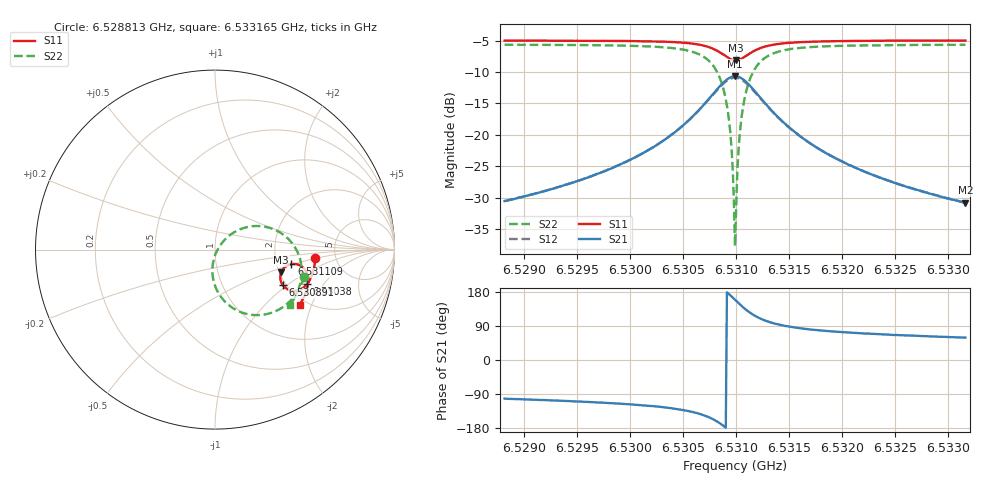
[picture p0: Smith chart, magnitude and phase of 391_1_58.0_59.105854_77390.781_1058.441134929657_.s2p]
#  HZ  S  RI  R  50.00
! Rohde & Schwarz Vector Network Analyzer
! Rohde-Schwarz,ZNB20-2Port,1311601062101988,3.16
! Created: UTC 3/21/2024, 1:07:50 AM
! freq[Hz]  re:S11  im:S11  re:S21  im:S21  re:S12  im:S12  re:S22  im:S22
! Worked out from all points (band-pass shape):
!   401 points, 6.528813 GHz to 6.533165 GHz, reference 50 ohm
!   highest |S21| = -10.68 dB at 6.530989 GHz (marker M1); lowest = -30.8 dB at 6.533165 GHz (marker M2)
!   |S21| within 3 dB of the highest: 6.530773 GHz to 6.531208 GHz (434.9 kHz wide, 0.00666 % of centre)
!   lowest |S11| = -8.2 dB at 6.531 GHz (marker M3), VSWR 2.28, Z = 103 - j30.4 ohm
!   |S11| at or under -10 dB: nowhere
!   |S22| runs from -37.7 to -5.7 dB; largest |S21 - S12| = 0.011
!   S11 on the Smith chart (normalised r, x): 6.528813 GHz: 3.48, -0.49; 6.53038 GHz: 2.56, -1.40; 6.530891 GHz: 1.92, -0.94; 6.531109 GHz: 2.41, -0.48; 6.533165 GHz: 1.82, -1.65
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6.5288129e9  0.5591 -0.048  -0.00617 -0.029  -0.00671 -0.029  0.4983 -0.151
6.5295419e9  0.5498 -0.108  -0.015 -0.0414  -0.0159 -0.0411  0.4694 -0.2176
6.530271e9  0.5228 -0.1786  -0.0468 -0.0713  -0.0488 -0.0698  0.3922 -0.3101
6.5303798e9  0.5137 -0.1913  -0.0593 -0.0789  -0.0615 -0.0772  0.3659 -0.3283
6.530728e9  0.4476 -0.2296  -0.1607 -0.0952  -0.1629 -0.0889  0.1739 -0.3578
6.5308259e9  0.4072 -0.2224  -0.2233 -0.0672  -0.2225 -0.0584  0.068 -0.3017
6.5308912e9  0.3785 -0.1992  -0.2654 -0.0174  -0.2605 -0.00834  0.00398 -0.2114
6.5309347e9  0.366 -0.1729  -0.2811 0.0329  -0.2734 0.0404  -0.0147 -0.1251
6.5309565e9  0.3638 -0.1575  -0.2821 0.0615  -0.2732 0.0676  -0.0116 -0.0776
6.5309674e9  0.3638 -0.1495  -0.2806 0.0761  -0.271 0.0814  -0.0066 -0.0537
6.5309782e9  0.3649 -0.1414  -0.2774 0.0909  -0.2677 0.095  0.000764 -0.0302
6.5309891e9  0.3667 -0.1336  -0.2729 0.1049  -0.263 0.1084  0.0105 -0.00762
6.531e9  0.3694 -0.1258  -0.2669 0.1187  -0.2569 0.1213  0.0224 0.0139
6.5310109e9  0.3729 -0.1185  -0.2596 0.1317  -0.2497 0.1333  0.0363 0.0342
6.5310435e9  0.3874 -0.0997  -0.2316 0.1647  -0.2226 0.1642  0.0878 0.0842
6.5310762e9  0.4058 -0.0872  -0.1975 0.1874  -0.1901 0.1851  0.1475 0.1161
6.5311088e9  0.4253 -0.0811  -0.1626 0.1991  -0.1569 0.1962  0.2074 0.1301
6.531185e9  0.4644 -0.0843  -0.0937 0.197  -0.0906 0.1943  0.3235 0.1146
6.5312938e9  0.4975 -0.1072  -0.0358 0.1667  -0.0342 0.1652  0.4178 0.0495
6.5317182e9  0.5193 -0.1834  0.0145 0.0822  0.0152 0.082  0.4831 -0.1291
6.5324472e9  0.4994 -0.2556  0.0168 0.0394  0.0176 0.0392  0.4555 -0.2448
6.5331653e9  0.4713 -0.3083  0.0148 0.0248  0.0154 0.0244  0.4203 -0.3068
